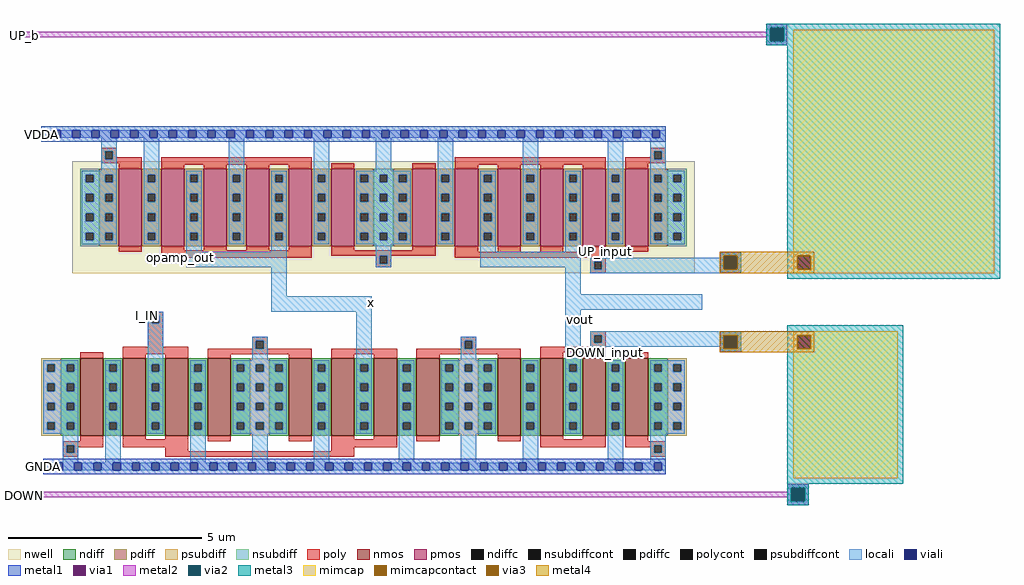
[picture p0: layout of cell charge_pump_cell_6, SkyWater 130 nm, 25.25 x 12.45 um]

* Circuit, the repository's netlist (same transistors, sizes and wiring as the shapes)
* NGSPICE file created from charge_pump_cell_6.ext - technology: sky130A

.subckt charge_pump_cell_6 VDDA GNDA x vout UP_b DOWN I_IN UP_input DOWN_input opamp_out
X0 x I_IN GNDA GNDA sky130_fd_pr__nfet_01v8 ad=0.5 pd=2.5 as=0.5 ps=2.5 w=2 l=0.6
X1 VDDA VDDA VDDA VDDA sky130_fd_pr__pfet_01v8 ad=1 pd=5 as=10 ps=50 w=2 l=0.6
X2 GNDA GNDA GNDA GNDA sky130_fd_pr__nfet_01v8 ad=0.5 pd=2.5 as=12 ps=60 w=2 l=0.6
X3 GNDA I_IN x GNDA sky130_fd_pr__nfet_01v8 ad=0.5 pd=2.5 as=0.5 ps=2.5 w=2 l=0.6
X4 UP_input li_22050_5610# sky130_fd_pr__cap_mim_m3_1 l=6.3 w=5.2
X5 GNDA GNDA GNDA GNDA sky130_fd_pr__nfet_01v8 ad=0.5 pd=2.5 as=0 ps=0 w=2 l=0.6
X6 GNDA GNDA GNDA GNDA sky130_fd_pr__nfet_01v8 ad=1 pd=5 as=0 ps=0 w=2 l=0.6
X7 VDDA VDDA VDDA VDDA sky130_fd_pr__pfet_01v8 ad=0.5 pd=2.5 as=0 ps=0 w=2 l=0.6
X8 vout DOWN_input GNDA GNDA sky130_fd_pr__nfet_01v8 ad=0.5 pd=2.5 as=0.5 ps=2.5 w=2 l=0.6
X9 GNDA DOWN_input vout GNDA sky130_fd_pr__nfet_01v8 ad=0.5 pd=2.5 as=0.5 ps=2.5 w=2 l=0.6
X10 GNDA GNDA GNDA GNDA sky130_fd_pr__nfet_01v8 ad=1 pd=5 as=0 ps=0 w=2 l=0.6
X11 x opamp_out VDDA VDDA sky130_fd_pr__pfet_01v8 ad=0.5 pd=2.5 as=0.5 ps=2.5 w=2 l=0.6
X12 GNDA I_IN I_IN GNDA sky130_fd_pr__nfet_01v8 ad=0.5 pd=2.5 as=0.5 ps=2.5 w=2 l=0.6
X13 VDDA VDDA VDDA VDDA sky130_fd_pr__pfet_01v8 ad=0.5 pd=2.5 as=0 ps=0 w=2 l=0.6
X14 VDDA VDDA VDDA VDDA sky130_fd_pr__pfet_01v8 ad=1 pd=5 as=0 ps=0 w=2 l=0.6
X15 VDDA opamp_out x VDDA sky130_fd_pr__pfet_01v8 ad=0.5 pd=2.5 as=0.5 ps=2.5 w=2 l=0.6
X16 I_IN I_IN GNDA GNDA sky130_fd_pr__nfet_01v8 ad=0.5 pd=2.5 as=0.5 ps=2.5 w=2 l=0.6
X17 vout UP_input VDDA VDDA sky130_fd_pr__pfet_01v8 ad=0.5 pd=2.5 as=0.5 ps=2.5 w=2 l=0.6
X18 VDDA UP_input vout VDDA sky130_fd_pr__pfet_01v8 ad=0.5 pd=2.5 as=0.5 ps=2.5 w=2 l=0.6
X19 x opamp_out VDDA VDDA sky130_fd_pr__pfet_01v8 ad=0.5 pd=2.5 as=0.5 ps=2.5 w=2 l=0.6
X20 GNDA GNDA GNDA GNDA sky130_fd_pr__nfet_01v8 ad=1 pd=5 as=0 ps=0 w=2 l=0.6
X21 VDDA opamp_out x VDDA sky130_fd_pr__pfet_01v8 ad=0.5 pd=2.5 as=0.5 ps=2.5 w=2 l=0.6
X22 VDDA UP_input vout VDDA sky130_fd_pr__pfet_01v8 ad=0.5 pd=2.5 as=0.5 ps=2.5 w=2 l=0.6
X23 DOWN_input li_22160_3230# sky130_fd_pr__cap_mim_m3_1 l=3.8 w=2.7
X24 GNDA GNDA GNDA GNDA sky130_fd_pr__nfet_01v8 ad=0.5 pd=2.5 as=0 ps=0 w=2 l=0.6
X25 vout UP_input VDDA VDDA sky130_fd_pr__pfet_01v8 ad=0.5 pd=2.5 as=0.5 ps=2.5 w=2 l=0.6
.ends

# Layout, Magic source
magic
tech sky130A
<< nwell >>
rect 9230 2215 10840 2505
<< nmos >>
rect 9250 1795 9310 1995
rect 9360 1795 9420 1995
rect 9470 1795 9530 1995
rect 9580 1795 9640 1995
rect 9790 1795 9850 1995
rect 9900 1795 9960 1995
rect 10010 1795 10070 1995
rect 10120 1795 10180 1995
rect 10330 1795 10390 1995
rect 10440 1795 10500 1995
rect 10550 1795 10610 1995
rect 10660 1795 10720 1995
<< pmos >>
rect 9350 2285 9410 2485
rect 9460 2285 9520 2485
rect 9570 2285 9630 2485
rect 9680 2285 9740 2485
rect 9790 2285 9850 2485
rect 9900 2285 9960 2485
rect 10110 2285 10170 2485
rect 10220 2285 10280 2485
rect 10330 2285 10390 2485
rect 10440 2285 10500 2485
rect 10550 2285 10610 2485
rect 10660 2285 10720 2485
<< ndiff >>
rect 9200 1980 9250 1995
rect 9200 1960 9215 1980
rect 9235 1960 9250 1980
rect 9200 1930 9250 1960
rect 9200 1910 9215 1930
rect 9235 1910 9250 1930
rect 9200 1880 9250 1910
rect 9200 1860 9215 1880
rect 9235 1860 9250 1880
rect 9200 1830 9250 1860
rect 9200 1810 9215 1830
rect 9235 1810 9250 1830
rect 9200 1795 9250 1810
rect 9310 1980 9360 1995
rect 9310 1960 9325 1980
rect 9345 1960 9360 1980
rect 9310 1930 9360 1960
rect 9310 1910 9325 1930
rect 9345 1910 9360 1930
rect 9310 1880 9360 1910
rect 9310 1860 9325 1880
rect 9345 1860 9360 1880
rect 9310 1830 9360 1860
rect 9310 1810 9325 1830
rect 9345 1810 9360 1830
rect 9310 1795 9360 1810
rect 9420 1980 9470 1995
rect 9420 1960 9435 1980
rect 9455 1960 9470 1980
rect 9420 1930 9470 1960
rect 9420 1910 9435 1930
rect 9455 1910 9470 1930
rect 9420 1880 9470 1910
rect 9420 1860 9435 1880
rect 9455 1860 9470 1880
rect 9420 1830 9470 1860
rect 9420 1810 9435 1830
rect 9455 1810 9470 1830
rect 9420 1795 9470 1810
rect 9530 1980 9580 1995
rect 9530 1960 9545 1980
rect 9565 1960 9580 1980
rect 9530 1930 9580 1960
rect 9530 1910 9545 1930
rect 9565 1910 9580 1930
rect 9530 1880 9580 1910
rect 9530 1860 9545 1880
rect 9565 1860 9580 1880
rect 9530 1830 9580 1860
rect 9530 1810 9545 1830
rect 9565 1810 9580 1830
rect 9530 1795 9580 1810
rect 9640 1980 9690 1995
rect 9740 1980 9790 1995
rect 9640 1960 9655 1980
rect 9675 1960 9690 1980
rect 9740 1960 9755 1980
rect 9775 1960 9790 1980
rect 9640 1930 9690 1960
rect 9740 1930 9790 1960
rect 9640 1910 9655 1930
rect 9675 1910 9690 1930
rect 9740 1910 9755 1930
rect 9775 1910 9790 1930
rect 9640 1880 9690 1910
rect 9740 1880 9790 1910
rect 9640 1860 9655 1880
rect 9675 1860 9690 1880
rect 9740 1860 9755 1880
rect 9775 1860 9790 1880
rect 9640 1830 9690 1860
rect 9740 1830 9790 1860
rect 9640 1810 9655 1830
rect 9675 1810 9690 1830
rect 9740 1810 9755 1830
rect 9775 1810 9790 1830
rect 9640 1795 9690 1810
rect 9740 1795 9790 1810
rect 9850 1980 9900 1995
rect 9850 1960 9865 1980
rect 9885 1960 9900 1980
rect 9850 1930 9900 1960
rect 9850 1910 9865 1930
rect 9885 1910 9900 1930
rect 9850 1880 9900 1910
rect 9850 1860 9865 1880
rect 9885 1860 9900 1880
rect 9850 1830 9900 1860
rect 9850 1810 9865 1830
rect 9885 1810 9900 1830
rect 9850 1795 9900 1810
rect 9960 1980 10010 1995
rect 9960 1960 9975 1980
rect 9995 1960 10010 1980
rect 9960 1930 10010 1960
rect 9960 1910 9975 1930
rect 9995 1910 10010 1930
rect 9960 1880 10010 1910
rect 9960 1860 9975 1880
rect 9995 1860 10010 1880
rect 9960 1830 10010 1860
rect 9960 1810 9975 1830
rect 9995 1810 10010 1830
rect 9960 1795 10010 1810
rect 10070 1980 10120 1995
rect 10070 1960 10085 1980
rect 10105 1960 10120 1980
rect 10070 1930 10120 1960
rect 10070 1910 10085 1930
rect 10105 1910 10120 1930
rect 10070 1880 10120 1910
rect 10070 1860 10085 1880
rect 10105 1860 10120 1880
rect 10070 1830 10120 1860
rect 10070 1810 10085 1830
rect 10105 1810 10120 1830
rect 10070 1795 10120 1810
rect 10180 1980 10230 1995
rect 10280 1980 10330 1995
rect 10180 1960 10195 1980
rect 10215 1960 10230 1980
rect 10280 1960 10295 1980
rect 10315 1960 10330 1980
rect 10180 1930 10230 1960
rect 10280 1930 10330 1960
rect 10180 1910 10195 1930
rect 10215 1910 10230 1930
rect 10280 1910 10295 1930
rect 10315 1910 10330 1930
rect 10180 1880 10230 1910
rect 10280 1880 10330 1910
rect 10180 1860 10195 1880
rect 10215 1860 10230 1880
rect 10280 1860 10295 1880
rect 10315 1860 10330 1880
rect 10180 1830 10230 1860
rect 10280 1830 10330 1860
rect 10180 1810 10195 1830
rect 10215 1810 10230 1830
rect 10280 1810 10295 1830
rect 10315 1810 10330 1830
rect 10180 1795 10230 1810
rect 10280 1795 10330 1810
rect 10390 1980 10440 1995
rect 10390 1960 10405 1980
rect 10425 1960 10440 1980
rect 10390 1930 10440 1960
rect 10390 1910 10405 1930
rect 10425 1910 10440 1930
rect 10390 1880 10440 1910
rect 10390 1860 10405 1880
rect 10425 1860 10440 1880
rect 10390 1830 10440 1860
rect 10390 1810 10405 1830
rect 10425 1810 10440 1830
rect 10390 1795 10440 1810
rect 10500 1980 10550 1995
rect 10500 1960 10515 1980
rect 10535 1960 10550 1980
rect 10500 1930 10550 1960
rect 10500 1910 10515 1930
rect 10535 1910 10550 1930
rect 10500 1880 10550 1910
rect 10500 1860 10515 1880
rect 10535 1860 10550 1880
rect 10500 1830 10550 1860
rect 10500 1810 10515 1830
rect 10535 1810 10550 1830
rect 10500 1795 10550 1810
rect 10610 1980 10660 1995
rect 10610 1960 10625 1980
rect 10645 1960 10660 1980
rect 10610 1930 10660 1960
rect 10610 1910 10625 1930
rect 10645 1910 10660 1930
rect 10610 1880 10660 1910
rect 10610 1860 10625 1880
rect 10645 1860 10660 1880
rect 10610 1830 10660 1860
rect 10610 1810 10625 1830
rect 10645 1810 10660 1830
rect 10610 1795 10660 1810
rect 10720 1980 10770 1995
rect 10720 1960 10735 1980
rect 10755 1960 10770 1980
rect 10720 1930 10770 1960
rect 10720 1910 10735 1930
rect 10755 1910 10770 1930
rect 10720 1880 10770 1910
rect 10720 1860 10735 1880
rect 10755 1860 10770 1880
rect 10720 1830 10770 1860
rect 10720 1810 10735 1830
rect 10755 1810 10770 1830
rect 10720 1795 10770 1810
<< pdiff >>
rect 9300 2470 9350 2485
rect 9300 2450 9315 2470
rect 9335 2450 9350 2470
rect 9300 2420 9350 2450
rect 9300 2400 9315 2420
rect 9335 2400 9350 2420
rect 9300 2370 9350 2400
rect 9300 2350 9315 2370
rect 9335 2350 9350 2370
rect 9300 2320 9350 2350
rect 9300 2300 9315 2320
rect 9335 2300 9350 2320
rect 9300 2285 9350 2300
rect 9410 2470 9460 2485
rect 9410 2450 9425 2470
rect 9445 2450 9460 2470
rect 9410 2420 9460 2450
rect 9410 2400 9425 2420
rect 9445 2400 9460 2420
rect 9410 2370 9460 2400
rect 9410 2350 9425 2370
rect 9445 2350 9460 2370
rect 9410 2320 9460 2350
rect 9410 2300 9425 2320
rect 9445 2300 9460 2320
rect 9410 2285 9460 2300
rect 9520 2470 9570 2485
rect 9520 2450 9535 2470
rect 9555 2450 9570 2470
rect 9520 2420 9570 2450
rect 9520 2400 9535 2420
rect 9555 2400 9570 2420
rect 9520 2370 9570 2400
rect 9520 2350 9535 2370
rect 9555 2350 9570 2370
rect 9520 2320 9570 2350
rect 9520 2300 9535 2320
rect 9555 2300 9570 2320
rect 9520 2285 9570 2300
rect 9630 2470 9680 2485
rect 9630 2450 9645 2470
rect 9665 2450 9680 2470
rect 9630 2420 9680 2450
rect 9630 2400 9645 2420
rect 9665 2400 9680 2420
rect 9630 2370 9680 2400
rect 9630 2350 9645 2370
rect 9665 2350 9680 2370
rect 9630 2320 9680 2350
rect 9630 2300 9645 2320
rect 9665 2300 9680 2320
rect 9630 2285 9680 2300
rect 9740 2470 9790 2485
rect 9740 2450 9755 2470
rect 9775 2450 9790 2470
rect 9740 2420 9790 2450
rect 9740 2400 9755 2420
rect 9775 2400 9790 2420
rect 9740 2370 9790 2400
rect 9740 2350 9755 2370
rect 9775 2350 9790 2370
rect 9740 2320 9790 2350
rect 9740 2300 9755 2320
rect 9775 2300 9790 2320
rect 9740 2285 9790 2300
rect 9850 2470 9900 2485
rect 9850 2450 9865 2470
rect 9885 2450 9900 2470
rect 9850 2420 9900 2450
rect 9850 2400 9865 2420
rect 9885 2400 9900 2420
rect 9850 2370 9900 2400
rect 9850 2350 9865 2370
rect 9885 2350 9900 2370
rect 9850 2320 9900 2350
rect 9850 2300 9865 2320
rect 9885 2300 9900 2320
rect 9850 2285 9900 2300
rect 9960 2470 10010 2485
rect 10060 2470 10110 2485
rect 9960 2450 9975 2470
rect 9995 2450 10010 2470
rect 10060 2450 10075 2470
rect 10095 2450 10110 2470
rect 9960 2420 10010 2450
rect 10060 2420 10110 2450
rect 9960 2400 9975 2420
rect 9995 2400 10010 2420
rect 10060 2400 10075 2420
rect 10095 2400 10110 2420
rect 9960 2370 10010 2400
rect 10060 2370 10110 2400
rect 9960 2350 9975 2370
rect 9995 2350 10010 2370
rect 10060 2350 10075 2370
rect 10095 2350 10110 2370
rect 9960 2320 10010 2350
rect 10060 2320 10110 2350
rect 9960 2300 9975 2320
rect 9995 2300 10010 2320
rect 10060 2300 10075 2320
rect 10095 2300 10110 2320
rect 9960 2285 10010 2300
rect 10060 2285 10110 2300
rect 10170 2470 10220 2485
rect 10170 2450 10185 2470
rect 10205 2450 10220 2470
rect 10170 2420 10220 2450
rect 10170 2400 10185 2420
rect 10205 2400 10220 2420
rect 10170 2370 10220 2400
rect 10170 2350 10185 2370
rect 10205 2350 10220 2370
rect 10170 2320 10220 2350
rect 10170 2300 10185 2320
rect 10205 2300 10220 2320
rect 10170 2285 10220 2300
rect 10280 2470 10330 2485
rect 10280 2450 10295 2470
rect 10315 2450 10330 2470
rect 10280 2420 10330 2450
rect 10280 2400 10295 2420
rect 10315 2400 10330 2420
rect 10280 2370 10330 2400
rect 10280 2350 10295 2370
rect 10315 2350 10330 2370
rect 10280 2320 10330 2350
rect 10280 2300 10295 2320
rect 10315 2300 10330 2320
rect 10280 2285 10330 2300
rect 10390 2470 10440 2485
rect 10390 2450 10405 2470
rect 10425 2450 10440 2470
rect 10390 2420 10440 2450
rect 10390 2400 10405 2420
rect 10425 2400 10440 2420
rect 10390 2370 10440 2400
rect 10390 2350 10405 2370
rect 10425 2350 10440 2370
rect 10390 2320 10440 2350
rect 10390 2300 10405 2320
rect 10425 2300 10440 2320
rect 10390 2285 10440 2300
rect 10500 2470 10550 2485
rect 10500 2450 10515 2470
rect 10535 2450 10550 2470
rect 10500 2420 10550 2450
rect 10500 2400 10515 2420
rect 10535 2400 10550 2420
rect 10500 2370 10550 2400
rect 10500 2350 10515 2370
rect 10535 2350 10550 2370
rect 10500 2320 10550 2350
rect 10500 2300 10515 2320
rect 10535 2300 10550 2320
rect 10500 2285 10550 2300
rect 10610 2470 10660 2485
rect 10610 2450 10625 2470
rect 10645 2450 10660 2470
rect 10610 2420 10660 2450
rect 10610 2400 10625 2420
rect 10645 2400 10660 2420
rect 10610 2370 10660 2400
rect 10610 2350 10625 2370
rect 10645 2350 10660 2370
rect 10610 2320 10660 2350
rect 10610 2300 10625 2320
rect 10645 2300 10660 2320
rect 10610 2285 10660 2300
rect 10720 2470 10770 2485
rect 10720 2450 10735 2470
rect 10755 2450 10770 2470
rect 10720 2420 10770 2450
rect 10720 2400 10735 2420
rect 10755 2400 10770 2420
rect 10720 2370 10770 2400
rect 10720 2350 10735 2370
rect 10755 2350 10770 2370
rect 10720 2320 10770 2350
rect 10720 2300 10735 2320
rect 10755 2300 10770 2320
rect 10720 2285 10770 2300
<< ndiffc >>
rect 9215 1960 9235 1980
rect 9215 1910 9235 1930
rect 9215 1860 9235 1880
rect 9215 1810 9235 1830
rect 9325 1960 9345 1980
rect 9325 1910 9345 1930
rect 9325 1860 9345 1880
rect 9325 1810 9345 1830
rect 9435 1960 9455 1980
rect 9435 1910 9455 1930
rect 9435 1860 9455 1880
rect 9435 1810 9455 1830
rect 9545 1960 9565 1980
rect 9545 1910 9565 1930
rect 9545 1860 9565 1880
rect 9545 1810 9565 1830
rect 9655 1960 9675 1980
rect 9755 1960 9775 1980
rect 9655 1910 9675 1930
rect 9755 1910 9775 1930
rect 9655 1860 9675 1880
rect 9755 1860 9775 1880
rect 9655 1810 9675 1830
rect 9755 1810 9775 1830
rect 9865 1960 9885 1980
rect 9865 1910 9885 1930
rect 9865 1860 9885 1880
rect 9865 1810 9885 1830
rect 9975 1960 9995 1980
rect 9975 1910 9995 1930
rect 9975 1860 9995 1880
rect 9975 1810 9995 1830
rect 10085 1960 10105 1980
rect 10085 1910 10105 1930
rect 10085 1860 10105 1880
rect 10085 1810 10105 1830
rect 10195 1960 10215 1980
rect 10295 1960 10315 1980
rect 10195 1910 10215 1930
rect 10295 1910 10315 1930
rect 10195 1860 10215 1880
rect 10295 1860 10315 1880
rect 10195 1810 10215 1830
rect 10295 1810 10315 1830
rect 10405 1960 10425 1980
rect 10405 1910 10425 1930
rect 10405 1860 10425 1880
rect 10405 1810 10425 1830
rect 10515 1960 10535 1980
rect 10515 1910 10535 1930
rect 10515 1860 10535 1880
rect 10515 1810 10535 1830
rect 10625 1960 10645 1980
rect 10625 1910 10645 1930
rect 10625 1860 10645 1880
rect 10625 1810 10645 1830
rect 10735 1960 10755 1980
rect 10735 1910 10755 1930
rect 10735 1860 10755 1880
rect 10735 1810 10755 1830
<< pdiffc >>
rect 9315 2450 9335 2470
rect 9315 2400 9335 2420
rect 9315 2350 9335 2370
rect 9315 2300 9335 2320
rect 9425 2450 9445 2470
rect 9425 2400 9445 2420
rect 9425 2350 9445 2370
rect 9425 2300 9445 2320
rect 9535 2450 9555 2470
rect 9535 2400 9555 2420
rect 9535 2350 9555 2370
rect 9535 2300 9555 2320
rect 9645 2450 9665 2470
rect 9645 2400 9665 2420
rect 9645 2350 9665 2370
rect 9645 2300 9665 2320
rect 9755 2450 9775 2470
rect 9755 2400 9775 2420
rect 9755 2350 9775 2370
rect 9755 2300 9775 2320
rect 9865 2450 9885 2470
rect 9865 2400 9885 2420
rect 9865 2350 9885 2370
rect 9865 2300 9885 2320
rect 9975 2450 9995 2470
rect 10075 2450 10095 2470
rect 9975 2400 9995 2420
rect 10075 2400 10095 2420
rect 9975 2350 9995 2370
rect 10075 2350 10095 2370
rect 9975 2300 9995 2320
rect 10075 2300 10095 2320
rect 10185 2450 10205 2470
rect 10185 2400 10205 2420
rect 10185 2350 10205 2370
rect 10185 2300 10205 2320
rect 10295 2450 10315 2470
rect 10295 2400 10315 2420
rect 10295 2350 10315 2370
rect 10295 2300 10315 2320
rect 10405 2450 10425 2470
rect 10405 2400 10425 2420
rect 10405 2350 10425 2370
rect 10405 2300 10425 2320
rect 10515 2450 10535 2470
rect 10515 2400 10535 2420
rect 10515 2350 10535 2370
rect 10515 2300 10535 2320
rect 10625 2450 10645 2470
rect 10625 2400 10645 2420
rect 10625 2350 10645 2370
rect 10625 2300 10645 2320
rect 10735 2450 10755 2470
rect 10735 2400 10755 2420
rect 10735 2350 10755 2370
rect 10735 2300 10755 2320
<< psubdiff >>
rect 9150 1980 9200 1995
rect 9150 1960 9165 1980
rect 9185 1960 9200 1980
rect 9150 1930 9200 1960
rect 9150 1910 9165 1930
rect 9185 1910 9200 1930
rect 9150 1880 9200 1910
rect 9150 1860 9165 1880
rect 9185 1860 9200 1880
rect 9150 1830 9200 1860
rect 9150 1810 9165 1830
rect 9185 1810 9200 1830
rect 9150 1795 9200 1810
rect 9690 1980 9740 1995
rect 9690 1960 9705 1980
rect 9725 1960 9740 1980
rect 9690 1930 9740 1960
rect 9690 1910 9705 1930
rect 9725 1910 9740 1930
rect 9690 1880 9740 1910
rect 9690 1860 9705 1880
rect 9725 1860 9740 1880
rect 9690 1830 9740 1860
rect 9690 1810 9705 1830
rect 9725 1810 9740 1830
rect 9690 1795 9740 1810
rect 10230 1980 10280 1995
rect 10230 1960 10245 1980
rect 10265 1960 10280 1980
rect 10230 1930 10280 1960
rect 10230 1910 10245 1930
rect 10265 1910 10280 1930
rect 10230 1880 10280 1910
rect 10230 1860 10245 1880
rect 10265 1860 10280 1880
rect 10230 1830 10280 1860
rect 10230 1810 10245 1830
rect 10265 1810 10280 1830
rect 10230 1795 10280 1810
rect 10770 1980 10820 1995
rect 10770 1960 10785 1980
rect 10805 1960 10820 1980
rect 10770 1930 10820 1960
rect 10770 1910 10785 1930
rect 10805 1910 10820 1930
rect 10770 1880 10820 1910
rect 10770 1860 10785 1880
rect 10805 1860 10820 1880
rect 10770 1830 10820 1860
rect 10770 1810 10785 1830
rect 10805 1810 10820 1830
rect 10770 1795 10820 1810
<< nsubdiff >>
rect 9250 2470 9300 2485
rect 9250 2450 9265 2470
rect 9285 2450 9300 2470
rect 9250 2420 9300 2450
rect 9250 2400 9265 2420
rect 9285 2400 9300 2420
rect 9250 2370 9300 2400
rect 9250 2350 9265 2370
rect 9285 2350 9300 2370
rect 9250 2320 9300 2350
rect 9250 2300 9265 2320
rect 9285 2300 9300 2320
rect 9250 2285 9300 2300
rect 10010 2470 10060 2485
rect 10010 2450 10025 2470
rect 10045 2450 10060 2470
rect 10010 2420 10060 2450
rect 10010 2400 10025 2420
rect 10045 2400 10060 2420
rect 10010 2370 10060 2400
rect 10010 2350 10025 2370
rect 10045 2350 10060 2370
rect 10010 2320 10060 2350
rect 10010 2300 10025 2320
rect 10045 2300 10060 2320
rect 10010 2285 10060 2300
rect 10770 2470 10820 2485
rect 10770 2450 10785 2470
rect 10805 2450 10820 2470
rect 10770 2420 10820 2450
rect 10770 2400 10785 2420
rect 10805 2400 10820 2420
rect 10770 2370 10820 2400
rect 10770 2350 10785 2370
rect 10805 2350 10820 2370
rect 10770 2320 10820 2350
rect 10770 2300 10785 2320
rect 10805 2300 10820 2320
rect 10770 2285 10820 2300
<< psubdiffcont >>
rect 9165 1960 9185 1980
rect 9165 1910 9185 1930
rect 9165 1860 9185 1880
rect 9165 1810 9185 1830
rect 9705 1960 9725 1980
rect 9705 1910 9725 1930
rect 9705 1860 9725 1880
rect 9705 1810 9725 1830
rect 10245 1960 10265 1980
rect 10245 1910 10265 1930
rect 10245 1860 10265 1880
rect 10245 1810 10265 1830
rect 10785 1960 10805 1980
rect 10785 1910 10805 1930
rect 10785 1860 10805 1880
rect 10785 1810 10805 1830
<< nsubdiffcont >>
rect 9265 2450 9285 2470
rect 9265 2400 9285 2420
rect 9265 2350 9285 2370
rect 9265 2300 9285 2320
rect 10025 2450 10045 2470
rect 10025 2400 10045 2420
rect 10025 2350 10045 2370
rect 10025 2300 10045 2320
rect 10785 2450 10805 2470
rect 10785 2400 10805 2420
rect 10785 2350 10805 2370
rect 10785 2300 10805 2320
<< poly >>
rect 9305 2530 9345 2540
rect 9305 2510 9315 2530
rect 9335 2515 9345 2530
rect 10725 2530 10765 2540
rect 10725 2515 10735 2530
rect 9335 2510 9410 2515
rect 9305 2500 9410 2510
rect 9350 2485 9410 2500
rect 9460 2495 9850 2515
rect 9460 2485 9520 2495
rect 9570 2485 9630 2495
rect 9680 2485 9740 2495
rect 9790 2485 9850 2495
rect 9900 2485 9960 2500
rect 10110 2485 10170 2500
rect 10220 2495 10610 2515
rect 10220 2485 10280 2495
rect 10330 2485 10390 2495
rect 10440 2485 10500 2495
rect 10550 2485 10610 2495
rect 10660 2510 10735 2515
rect 10755 2510 10765 2530
rect 10660 2500 10765 2510
rect 10660 2485 10720 2500
rect 9350 2270 9410 2285
rect 9460 2275 9520 2285
rect 9570 2275 9630 2285
rect 9680 2275 9740 2285
rect 9790 2275 9850 2285
rect 9460 2255 9850 2275
rect 9900 2275 9960 2285
rect 10110 2275 10170 2285
rect 9900 2260 10170 2275
rect 10220 2270 10280 2285
rect 10330 2270 10390 2285
rect 10440 2270 10500 2285
rect 10550 2270 10610 2285
rect 10660 2270 10720 2285
rect 10015 2240 10025 2260
rect 10045 2240 10055 2260
rect 10220 2255 10610 2270
rect 10015 2230 10055 2240
rect 10570 2245 10610 2255
rect 10570 2225 10580 2245
rect 10600 2225 10610 2245
rect 10570 2215 10610 2225
rect 9425 2105 9465 2115
rect 9425 2085 9435 2105
rect 9455 2085 9465 2105
rect 9425 2025 9465 2085
rect 10570 2055 10610 2065
rect 9695 2040 9735 2050
rect 9250 1995 9310 2010
rect 9360 2005 9530 2025
rect 9695 2020 9705 2040
rect 9725 2020 9735 2040
rect 10235 2040 10275 2050
rect 10235 2020 10245 2040
rect 10265 2020 10275 2040
rect 10570 2035 10580 2055
rect 10600 2035 10610 2055
rect 10570 2025 10610 2035
rect 9360 1995 9420 2005
rect 9470 1995 9530 2005
rect 9580 2005 9850 2020
rect 9580 1995 9640 2005
rect 9790 1995 9850 2005
rect 9900 2005 10070 2020
rect 9900 1995 9960 2005
rect 10010 1995 10070 2005
rect 10120 2005 10390 2020
rect 10120 1995 10180 2005
rect 10330 1995 10390 2005
rect 10440 2010 10610 2025
rect 10440 1995 10500 2010
rect 10550 1995 10610 2010
rect 10660 1995 10720 2010
rect 9250 1780 9310 1795
rect 9205 1770 9310 1780
rect 9205 1750 9215 1770
rect 9235 1765 9310 1770
rect 9360 1785 9420 1795
rect 9470 1785 9530 1795
rect 9360 1765 9530 1785
rect 9580 1780 9640 1795
rect 9790 1780 9850 1795
rect 9900 1785 9960 1795
rect 10010 1785 10070 1795
rect 9235 1750 9245 1765
rect 9205 1740 9245 1750
rect 9470 1755 9530 1765
rect 9900 1765 10070 1785
rect 10120 1780 10180 1795
rect 10330 1780 10390 1795
rect 10440 1785 10500 1795
rect 10550 1785 10610 1795
rect 10440 1765 10610 1785
rect 10660 1780 10720 1795
rect 10660 1770 10765 1780
rect 10660 1765 10735 1770
rect 9900 1755 9960 1765
rect 9470 1740 9960 1755
rect 10725 1750 10735 1765
rect 10755 1750 10765 1770
rect 10725 1740 10765 1750
<< polycont >>
rect 9315 2510 9335 2530
rect 10735 2510 10755 2530
rect 10025 2240 10045 2260
rect 10580 2225 10600 2245
rect 9435 2085 9455 2105
rect 9705 2020 9725 2040
rect 10245 2020 10265 2040
rect 10580 2035 10600 2055
rect 9215 1750 9235 1770
rect 10735 1750 10755 1770
<< locali >>
rect 11025 2850 11080 2860
rect 11025 2815 11035 2850
rect 11070 2815 11080 2850
rect 11025 2805 11080 2815
rect 9150 2565 9180 2585
rect 9200 2565 9230 2585
rect 9250 2565 9280 2585
rect 9300 2565 9330 2585
rect 9350 2565 9380 2585
rect 9400 2565 9430 2585
rect 9450 2565 9480 2585
rect 9500 2565 9530 2585
rect 9550 2565 9580 2585
rect 9600 2565 9630 2585
rect 9650 2565 9680 2585
rect 9700 2565 9730 2585
rect 9750 2565 9780 2585
rect 9800 2565 9830 2585
rect 9850 2565 9880 2585
rect 9900 2565 9930 2585
rect 9950 2565 9980 2585
rect 10000 2565 10030 2585
rect 10050 2565 10080 2585
rect 10100 2565 10130 2585
rect 10150 2565 10180 2585
rect 10200 2565 10230 2585
rect 10250 2565 10280 2585
rect 10300 2565 10330 2585
rect 10350 2565 10380 2585
rect 10400 2565 10430 2585
rect 10450 2565 10480 2585
rect 10500 2565 10530 2585
rect 10550 2565 10580 2585
rect 10600 2565 10630 2585
rect 10650 2565 10680 2585
rect 10700 2565 10730 2585
rect 10750 2565 10765 2585
rect 9305 2530 9345 2565
rect 9305 2510 9315 2530
rect 9335 2510 9345 2530
rect 9305 2480 9345 2510
rect 9255 2470 9345 2480
rect 9255 2450 9265 2470
rect 9285 2450 9315 2470
rect 9335 2450 9345 2470
rect 9255 2420 9345 2450
rect 9255 2400 9265 2420
rect 9285 2400 9315 2420
rect 9335 2400 9345 2420
rect 9255 2370 9345 2400
rect 9255 2350 9265 2370
rect 9285 2350 9315 2370
rect 9335 2350 9345 2370
rect 9255 2320 9345 2350
rect 9255 2300 9265 2320
rect 9285 2300 9315 2320
rect 9335 2300 9345 2320
rect 9255 2290 9345 2300
rect 9415 2470 9455 2565
rect 9415 2450 9425 2470
rect 9445 2450 9455 2470
rect 9415 2420 9455 2450
rect 9415 2400 9425 2420
rect 9445 2400 9455 2420
rect 9415 2370 9455 2400
rect 9415 2350 9425 2370
rect 9445 2350 9455 2370
rect 9415 2320 9455 2350
rect 9415 2300 9425 2320
rect 9445 2300 9455 2320
rect 9415 2290 9455 2300
rect 9525 2470 9565 2480
rect 9525 2450 9535 2470
rect 9555 2450 9565 2470
rect 9525 2420 9565 2450
rect 9525 2400 9535 2420
rect 9555 2400 9565 2420
rect 9525 2370 9565 2400
rect 9525 2350 9535 2370
rect 9555 2350 9565 2370
rect 9525 2320 9565 2350
rect 9525 2300 9535 2320
rect 9555 2300 9565 2320
rect 9525 2270 9565 2300
rect 9635 2470 9675 2565
rect 9635 2450 9645 2470
rect 9665 2450 9675 2470
rect 9635 2420 9675 2450
rect 9635 2400 9645 2420
rect 9665 2400 9675 2420
rect 9635 2370 9675 2400
rect 9635 2350 9645 2370
rect 9665 2350 9675 2370
rect 9635 2320 9675 2350
rect 9635 2300 9645 2320
rect 9665 2300 9675 2320
rect 9635 2290 9675 2300
rect 9745 2470 9785 2480
rect 9745 2450 9755 2470
rect 9775 2450 9785 2470
rect 9745 2420 9785 2450
rect 9745 2400 9755 2420
rect 9775 2400 9785 2420
rect 9745 2370 9785 2400
rect 9745 2350 9755 2370
rect 9775 2350 9785 2370
rect 9745 2320 9785 2350
rect 9745 2300 9755 2320
rect 9775 2300 9785 2320
rect 9745 2270 9785 2300
rect 9855 2470 9895 2565
rect 10015 2480 10055 2565
rect 9855 2450 9865 2470
rect 9885 2450 9895 2470
rect 9855 2420 9895 2450
rect 9855 2400 9865 2420
rect 9885 2400 9895 2420
rect 9855 2370 9895 2400
rect 9855 2350 9865 2370
rect 9885 2350 9895 2370
rect 9855 2320 9895 2350
rect 9855 2300 9865 2320
rect 9885 2300 9895 2320
rect 9855 2290 9895 2300
rect 9965 2470 10105 2480
rect 9965 2450 9975 2470
rect 9995 2450 10025 2470
rect 10045 2450 10075 2470
rect 10095 2450 10105 2470
rect 9965 2420 10105 2450
rect 9965 2400 9975 2420
rect 9995 2400 10025 2420
rect 10045 2400 10075 2420
rect 10095 2400 10105 2420
rect 9965 2370 10105 2400
rect 9965 2350 9975 2370
rect 9995 2350 10025 2370
rect 10045 2350 10075 2370
rect 10095 2350 10105 2370
rect 9965 2320 10105 2350
rect 9965 2300 9975 2320
rect 9995 2300 10025 2320
rect 10045 2300 10075 2320
rect 10095 2300 10105 2320
rect 9965 2290 10105 2300
rect 10175 2470 10215 2565
rect 10175 2450 10185 2470
rect 10205 2450 10215 2470
rect 10175 2420 10215 2450
rect 10175 2400 10185 2420
rect 10205 2400 10215 2420
rect 10175 2370 10215 2400
rect 10175 2350 10185 2370
rect 10205 2350 10215 2370
rect 10175 2320 10215 2350
rect 10175 2300 10185 2320
rect 10205 2300 10215 2320
rect 10175 2290 10215 2300
rect 10285 2470 10325 2480
rect 10285 2450 10295 2470
rect 10315 2450 10325 2470
rect 10285 2420 10325 2450
rect 10285 2400 10295 2420
rect 10315 2400 10325 2420
rect 10285 2370 10325 2400
rect 10285 2350 10295 2370
rect 10315 2350 10325 2370
rect 10285 2320 10325 2350
rect 10285 2300 10295 2320
rect 10315 2300 10325 2320
rect 9525 2230 9785 2270
rect 10015 2260 10055 2290
rect 10015 2240 10025 2260
rect 10045 2240 10055 2260
rect 10015 2230 10055 2240
rect 10285 2270 10325 2300
rect 10395 2470 10435 2565
rect 10395 2450 10405 2470
rect 10425 2450 10435 2470
rect 10395 2420 10435 2450
rect 10395 2400 10405 2420
rect 10425 2400 10435 2420
rect 10395 2370 10435 2400
rect 10395 2350 10405 2370
rect 10425 2350 10435 2370
rect 10395 2320 10435 2350
rect 10395 2300 10405 2320
rect 10425 2300 10435 2320
rect 10395 2290 10435 2300
rect 10505 2470 10545 2480
rect 10505 2450 10515 2470
rect 10535 2450 10545 2470
rect 10505 2420 10545 2450
rect 10505 2400 10515 2420
rect 10535 2400 10545 2420
rect 10505 2370 10545 2400
rect 10505 2350 10515 2370
rect 10535 2350 10545 2370
rect 10505 2320 10545 2350
rect 10505 2300 10515 2320
rect 10535 2300 10545 2320
rect 10505 2270 10545 2300
rect 10615 2470 10655 2565
rect 10615 2450 10625 2470
rect 10645 2450 10655 2470
rect 10615 2420 10655 2450
rect 10615 2400 10625 2420
rect 10645 2400 10655 2420
rect 10615 2370 10655 2400
rect 10615 2350 10625 2370
rect 10645 2350 10655 2370
rect 10615 2320 10655 2350
rect 10615 2300 10625 2320
rect 10645 2300 10655 2320
rect 10615 2290 10655 2300
rect 10725 2530 10765 2565
rect 10725 2510 10735 2530
rect 10755 2510 10765 2530
rect 10725 2480 10765 2510
rect 10725 2470 10815 2480
rect 10725 2450 10735 2470
rect 10755 2450 10785 2470
rect 10805 2450 10815 2470
rect 10725 2420 10815 2450
rect 10725 2400 10735 2420
rect 10755 2400 10785 2420
rect 10805 2400 10815 2420
rect 10725 2370 10815 2400
rect 10725 2350 10735 2370
rect 10755 2350 10785 2370
rect 10805 2350 10815 2370
rect 10725 2320 10815 2350
rect 10725 2300 10735 2320
rect 10755 2300 10785 2320
rect 10805 2300 10815 2320
rect 10725 2290 10815 2300
rect 10285 2230 10545 2270
rect 10905 2260 10960 2270
rect 10905 2255 10915 2260
rect 9745 2155 9785 2230
rect 10505 2160 10545 2230
rect 10570 2245 10915 2255
rect 10570 2225 10580 2245
rect 10600 2225 10915 2245
rect 10950 2225 10960 2260
rect 10570 2215 10960 2225
rect 9745 2115 10005 2155
rect 9425 2105 9465 2115
rect 9425 2085 9435 2105
rect 9455 2085 9465 2105
rect 9155 1980 9245 1990
rect 9155 1960 9165 1980
rect 9185 1960 9215 1980
rect 9235 1960 9245 1980
rect 9155 1930 9245 1960
rect 9155 1910 9165 1930
rect 9185 1910 9215 1930
rect 9235 1910 9245 1930
rect 9155 1880 9245 1910
rect 9155 1860 9165 1880
rect 9185 1860 9215 1880
rect 9235 1860 9245 1880
rect 9155 1830 9245 1860
rect 9155 1810 9165 1830
rect 9185 1810 9215 1830
rect 9235 1810 9245 1830
rect 9155 1800 9245 1810
rect 9205 1770 9245 1800
rect 9205 1750 9215 1770
rect 9235 1750 9245 1770
rect 9205 1725 9245 1750
rect 9315 1980 9355 1990
rect 9315 1960 9325 1980
rect 9345 1960 9355 1980
rect 9315 1930 9355 1960
rect 9315 1910 9325 1930
rect 9345 1910 9355 1930
rect 9315 1880 9355 1910
rect 9315 1860 9325 1880
rect 9345 1860 9355 1880
rect 9315 1830 9355 1860
rect 9315 1810 9325 1830
rect 9345 1810 9355 1830
rect 9315 1725 9355 1810
rect 9425 1980 9465 2085
rect 9695 2040 9735 2050
rect 9695 2020 9705 2040
rect 9725 2020 9735 2040
rect 9695 1990 9735 2020
rect 9425 1960 9435 1980
rect 9455 1960 9465 1980
rect 9425 1930 9465 1960
rect 9425 1910 9435 1930
rect 9455 1910 9465 1930
rect 9425 1880 9465 1910
rect 9425 1860 9435 1880
rect 9455 1860 9465 1880
rect 9425 1830 9465 1860
rect 9425 1810 9435 1830
rect 9455 1810 9465 1830
rect 9425 1800 9465 1810
rect 9535 1980 9575 1990
rect 9535 1960 9545 1980
rect 9565 1960 9575 1980
rect 9535 1930 9575 1960
rect 9535 1910 9545 1930
rect 9565 1910 9575 1930
rect 9535 1880 9575 1910
rect 9535 1860 9545 1880
rect 9565 1860 9575 1880
rect 9535 1830 9575 1860
rect 9535 1810 9545 1830
rect 9565 1810 9575 1830
rect 9535 1725 9575 1810
rect 9645 1980 9785 1990
rect 9645 1960 9655 1980
rect 9675 1960 9705 1980
rect 9725 1960 9755 1980
rect 9775 1960 9785 1980
rect 9645 1930 9785 1960
rect 9645 1910 9655 1930
rect 9675 1910 9705 1930
rect 9725 1910 9755 1930
rect 9775 1910 9785 1930
rect 9645 1880 9785 1910
rect 9645 1860 9655 1880
rect 9675 1860 9705 1880
rect 9725 1860 9755 1880
rect 9775 1860 9785 1880
rect 9645 1830 9785 1860
rect 9645 1810 9655 1830
rect 9675 1810 9705 1830
rect 9725 1810 9755 1830
rect 9775 1810 9785 1830
rect 9645 1800 9785 1810
rect 9855 1980 9895 1990
rect 9855 1960 9865 1980
rect 9885 1960 9895 1980
rect 9855 1930 9895 1960
rect 9855 1910 9865 1930
rect 9885 1910 9895 1930
rect 9855 1880 9895 1910
rect 9855 1860 9865 1880
rect 9885 1860 9895 1880
rect 9855 1830 9895 1860
rect 9855 1810 9865 1830
rect 9885 1810 9895 1830
rect 9695 1725 9735 1800
rect 9855 1725 9895 1810
rect 9965 1980 10005 2115
rect 10505 2120 10860 2160
rect 10235 2040 10275 2050
rect 10235 2020 10245 2040
rect 10265 2020 10275 2040
rect 10235 1990 10275 2020
rect 9965 1960 9975 1980
rect 9995 1960 10005 1980
rect 9965 1930 10005 1960
rect 9965 1910 9975 1930
rect 9995 1910 10005 1930
rect 9965 1880 10005 1910
rect 9965 1860 9975 1880
rect 9995 1860 10005 1880
rect 9965 1830 10005 1860
rect 9965 1810 9975 1830
rect 9995 1810 10005 1830
rect 9965 1800 10005 1810
rect 10075 1980 10115 1990
rect 10075 1960 10085 1980
rect 10105 1960 10115 1980
rect 10075 1930 10115 1960
rect 10075 1910 10085 1930
rect 10105 1910 10115 1930
rect 10075 1880 10115 1910
rect 10075 1860 10085 1880
rect 10105 1860 10115 1880
rect 10075 1830 10115 1860
rect 10075 1810 10085 1830
rect 10105 1810 10115 1830
rect 10075 1725 10115 1810
rect 10185 1980 10325 1990
rect 10185 1960 10195 1980
rect 10215 1960 10245 1980
rect 10265 1960 10295 1980
rect 10315 1960 10325 1980
rect 10185 1930 10325 1960
rect 10185 1910 10195 1930
rect 10215 1910 10245 1930
rect 10265 1910 10295 1930
rect 10315 1910 10325 1930
rect 10185 1880 10325 1910
rect 10185 1860 10195 1880
rect 10215 1860 10245 1880
rect 10265 1860 10295 1880
rect 10315 1860 10325 1880
rect 10185 1830 10325 1860
rect 10185 1810 10195 1830
rect 10215 1810 10245 1830
rect 10265 1810 10295 1830
rect 10315 1810 10325 1830
rect 10185 1800 10325 1810
rect 10395 1980 10435 1990
rect 10395 1960 10405 1980
rect 10425 1960 10435 1980
rect 10395 1930 10435 1960
rect 10395 1910 10405 1930
rect 10425 1910 10435 1930
rect 10395 1880 10435 1910
rect 10395 1860 10405 1880
rect 10425 1860 10435 1880
rect 10395 1830 10435 1860
rect 10395 1810 10405 1830
rect 10425 1810 10435 1830
rect 10235 1725 10275 1800
rect 10395 1725 10435 1810
rect 10505 1980 10545 2120
rect 10570 2055 10960 2065
rect 10570 2035 10580 2055
rect 10600 2035 10915 2055
rect 10570 2025 10915 2035
rect 10905 2020 10915 2025
rect 10950 2020 10960 2055
rect 10905 2010 10960 2020
rect 10505 1960 10515 1980
rect 10535 1960 10545 1980
rect 10505 1930 10545 1960
rect 10505 1910 10515 1930
rect 10535 1910 10545 1930
rect 10505 1880 10545 1910
rect 10505 1860 10515 1880
rect 10535 1860 10545 1880
rect 10505 1830 10545 1860
rect 10505 1810 10515 1830
rect 10535 1810 10545 1830
rect 10505 1800 10545 1810
rect 10615 1980 10655 1990
rect 10615 1960 10625 1980
rect 10645 1960 10655 1980
rect 10615 1930 10655 1960
rect 10615 1910 10625 1930
rect 10645 1910 10655 1930
rect 10615 1880 10655 1910
rect 10615 1860 10625 1880
rect 10645 1860 10655 1880
rect 10615 1830 10655 1860
rect 10615 1810 10625 1830
rect 10645 1810 10655 1830
rect 10615 1725 10655 1810
rect 10725 1980 10815 1990
rect 10725 1960 10735 1980
rect 10755 1960 10785 1980
rect 10805 1960 10815 1980
rect 10725 1930 10815 1960
rect 10725 1910 10735 1930
rect 10755 1910 10785 1930
rect 10805 1910 10815 1930
rect 10725 1880 10815 1910
rect 10725 1860 10735 1880
rect 10755 1860 10785 1880
rect 10805 1860 10815 1880
rect 10725 1830 10815 1860
rect 10725 1810 10735 1830
rect 10755 1810 10785 1830
rect 10805 1810 10815 1830
rect 10725 1800 10815 1810
rect 10725 1770 10765 1800
rect 10725 1750 10735 1770
rect 10755 1750 10765 1770
rect 10725 1725 10765 1750
rect 9155 1705 9185 1725
rect 9205 1705 9235 1725
rect 9255 1705 9285 1725
rect 9305 1705 9335 1725
rect 9355 1705 9385 1725
rect 9405 1705 9435 1725
rect 9455 1705 9485 1725
rect 9505 1705 9535 1725
rect 9555 1705 9585 1725
rect 9605 1705 9635 1725
rect 9655 1705 9685 1725
rect 9705 1705 9735 1725
rect 9755 1705 9785 1725
rect 9805 1705 9835 1725
rect 9855 1705 9885 1725
rect 9905 1705 9935 1725
rect 9955 1705 9985 1725
rect 10005 1705 10035 1725
rect 10055 1705 10085 1725
rect 10105 1705 10135 1725
rect 10155 1705 10185 1725
rect 10205 1705 10235 1725
rect 10255 1705 10285 1725
rect 10305 1705 10335 1725
rect 10355 1705 10385 1725
rect 10405 1705 10435 1725
rect 10455 1705 10485 1725
rect 10505 1705 10535 1725
rect 10555 1705 10585 1725
rect 10605 1705 10635 1725
rect 10655 1705 10685 1725
rect 10705 1705 10735 1725
rect 10755 1705 10765 1725
rect 11080 1660 11135 1670
rect 11080 1625 11090 1660
rect 11125 1625 11135 1660
rect 11080 1615 11135 1625
<< viali >>
rect 11035 2815 11070 2850
rect 9180 2565 9200 2585
rect 9230 2565 9250 2585
rect 9280 2565 9300 2585
rect 9330 2565 9350 2585
rect 9380 2565 9400 2585
rect 9430 2565 9450 2585
rect 9480 2565 9500 2585
rect 9530 2565 9550 2585
rect 9580 2565 9600 2585
rect 9630 2565 9650 2585
rect 9680 2565 9700 2585
rect 9730 2565 9750 2585
rect 9780 2565 9800 2585
rect 9830 2565 9850 2585
rect 9880 2565 9900 2585
rect 9930 2565 9950 2585
rect 9980 2565 10000 2585
rect 10030 2565 10050 2585
rect 10080 2565 10100 2585
rect 10130 2565 10150 2585
rect 10180 2565 10200 2585
rect 10230 2565 10250 2585
rect 10280 2565 10300 2585
rect 10330 2565 10350 2585
rect 10380 2565 10400 2585
rect 10430 2565 10450 2585
rect 10480 2565 10500 2585
rect 10530 2565 10550 2585
rect 10580 2565 10600 2585
rect 10630 2565 10650 2585
rect 10680 2565 10700 2585
rect 10730 2565 10750 2585
rect 10915 2225 10950 2260
rect 10915 2020 10950 2055
rect 9185 1705 9205 1725
rect 9235 1705 9255 1725
rect 9285 1705 9305 1725
rect 9335 1705 9355 1725
rect 9385 1705 9405 1725
rect 9435 1705 9455 1725
rect 9485 1705 9505 1725
rect 9535 1705 9555 1725
rect 9585 1705 9605 1725
rect 9635 1705 9655 1725
rect 9685 1705 9705 1725
rect 9735 1705 9755 1725
rect 9785 1705 9805 1725
rect 9835 1705 9855 1725
rect 9885 1705 9905 1725
rect 9935 1705 9955 1725
rect 9985 1705 10005 1725
rect 10035 1705 10055 1725
rect 10085 1705 10105 1725
rect 10135 1705 10155 1725
rect 10185 1705 10205 1725
rect 10235 1705 10255 1725
rect 10285 1705 10305 1725
rect 10335 1705 10355 1725
rect 10385 1705 10405 1725
rect 10435 1705 10455 1725
rect 10485 1705 10505 1725
rect 10535 1705 10555 1725
rect 10585 1705 10605 1725
rect 10635 1705 10655 1725
rect 10685 1705 10705 1725
rect 10735 1705 10755 1725
rect 11090 1625 11125 1660
<< metal1 >>
rect 11025 2850 11080 2860
rect 11025 2815 11035 2850
rect 11070 2815 11080 2850
rect 11025 2805 11080 2815
rect 9150 2585 10765 2595
rect 9150 2565 9180 2585
rect 9200 2565 9230 2585
rect 9250 2565 9280 2585
rect 9300 2565 9330 2585
rect 9350 2565 9380 2585
rect 9400 2565 9430 2585
rect 9450 2565 9480 2585
rect 9500 2565 9530 2585
rect 9550 2565 9580 2585
rect 9600 2565 9630 2585
rect 9650 2565 9680 2585
rect 9700 2565 9730 2585
rect 9750 2565 9780 2585
rect 9800 2565 9830 2585
rect 9850 2565 9880 2585
rect 9900 2565 9930 2585
rect 9950 2565 9980 2585
rect 10000 2565 10030 2585
rect 10050 2565 10080 2585
rect 10100 2565 10130 2585
rect 10150 2565 10180 2585
rect 10200 2565 10230 2585
rect 10250 2565 10280 2585
rect 10300 2565 10330 2585
rect 10350 2565 10380 2585
rect 10400 2565 10430 2585
rect 10450 2565 10480 2585
rect 10500 2565 10530 2585
rect 10550 2565 10580 2585
rect 10600 2565 10630 2585
rect 10650 2565 10680 2585
rect 10700 2565 10730 2585
rect 10750 2565 10765 2585
rect 9150 2555 10765 2565
rect 10905 2260 10960 2270
rect 10905 2225 10915 2260
rect 10950 2225 10960 2260
rect 10905 2215 10960 2225
rect 10905 2055 10960 2065
rect 10905 2020 10915 2055
rect 10950 2020 10960 2055
rect 10905 2010 10960 2020
rect 9155 1725 10765 1735
rect 9155 1705 9185 1725
rect 9205 1705 9235 1725
rect 9255 1705 9285 1725
rect 9305 1705 9335 1725
rect 9355 1705 9385 1725
rect 9405 1705 9435 1725
rect 9455 1705 9485 1725
rect 9505 1705 9535 1725
rect 9555 1705 9585 1725
rect 9605 1705 9635 1725
rect 9655 1705 9685 1725
rect 9705 1705 9735 1725
rect 9755 1705 9785 1725
rect 9805 1705 9835 1725
rect 9855 1705 9885 1725
rect 9905 1705 9935 1725
rect 9955 1705 9985 1725
rect 10005 1705 10035 1725
rect 10055 1705 10085 1725
rect 10105 1705 10135 1725
rect 10155 1705 10185 1725
rect 10205 1705 10235 1725
rect 10255 1705 10285 1725
rect 10305 1705 10335 1725
rect 10355 1705 10385 1725
rect 10405 1705 10435 1725
rect 10455 1705 10485 1725
rect 10505 1705 10535 1725
rect 10555 1705 10585 1725
rect 10605 1705 10635 1725
rect 10655 1705 10685 1725
rect 10705 1705 10735 1725
rect 10755 1705 10765 1725
rect 9155 1695 10765 1705
rect 11080 1660 11135 1670
rect 11080 1625 11090 1660
rect 11125 1625 11135 1660
rect 11080 1615 11135 1625
<< via1 >>
rect 11035 2815 11070 2850
rect 10915 2225 10950 2260
rect 10915 2020 10950 2055
rect 11090 1625 11125 1660
<< metal2 >>
rect 11025 2850 11080 2860
rect 11025 2840 11035 2850
rect 9105 2825 11035 2840
rect 11025 2815 11035 2825
rect 11070 2815 11080 2850
rect 11025 2805 11080 2815
rect 10905 2260 10960 2270
rect 10905 2225 10915 2260
rect 10950 2225 10960 2260
rect 10905 2215 10960 2225
rect 10905 2055 10960 2065
rect 10905 2020 10915 2055
rect 10950 2020 10960 2055
rect 10905 2010 10960 2020
rect 11080 1660 11135 1670
rect 11080 1650 11090 1660
rect 9105 1635 11090 1650
rect 11080 1625 11090 1635
rect 11125 1625 11135 1660
rect 11080 1615 11135 1625
<< via2 >>
rect 11035 2815 11070 2850
rect 10915 2225 10950 2260
rect 10915 2020 10950 2055
rect 11090 1625 11125 1660
<< metal3 >>
rect 11025 2850 11630 2860
rect 11025 2815 11035 2850
rect 11070 2815 11630 2850
rect 11025 2805 11630 2815
rect 10905 2260 10960 2270
rect 10905 2225 10915 2260
rect 10950 2225 10960 2260
rect 10905 2215 10960 2225
rect 11080 2200 11630 2805
rect 10905 2055 10960 2065
rect 10905 2020 10915 2055
rect 10950 2020 10960 2055
rect 10905 2010 10960 2020
rect 11080 1670 11380 2080
rect 11080 1660 11135 1670
rect 11080 1625 11090 1660
rect 11125 1625 11135 1660
rect 11080 1615 11135 1625
<< via3 >>
rect 10915 2225 10950 2260
rect 10915 2020 10950 2055
<< mimcap >>
rect 11095 2260 11615 2845
rect 11095 2225 11105 2260
rect 11140 2225 11615 2260
rect 11095 2215 11615 2225
rect 11095 2055 11365 2065
rect 11095 2020 11105 2055
rect 11140 2020 11365 2055
rect 11095 1685 11365 2020
<< mimcapcontact >>
rect 11105 2225 11140 2260
rect 11105 2020 11140 2055
<< metal4 >>
rect 10905 2260 11150 2270
rect 10905 2225 10915 2260
rect 10950 2225 11105 2260
rect 11140 2225 11150 2260
rect 10905 2215 11150 2225
rect 10905 2055 11150 2065
rect 10905 2020 10915 2055
rect 10950 2020 11105 2055
rect 11140 2020 11150 2055
rect 10905 2010 11150 2020
<< labels >>
flabel metal1 9150 2575 9150 2575 7 FreeSans 400 0 -200 0 VDDA
port 1 w
flabel poly 10610 2270 10610 2270 3 FreeSans 400 0 200 0 UP_input
port 8 e
flabel poly 9510 2255 9510 2255 5 FreeSans 400 0 0 -200 opamp_out
port 10 s
flabel locali 9425 2105 9425 2105 7 FreeSans 400 0 -200 0 I_IN
port 7 w
flabel locali 10005 2140 10005 2140 3 FreeSans 400 0 200 0 x
port 3 e
flabel poly 10610 2010 10610 2010 3 FreeSans 400 0 200 0 DOWN_input
port 9 e
flabel metal1 9155 1715 9155 1715 7 FreeSans 400 0 -200 0 GNDA
port 2 w
flabel locali 10545 2095 10545 2095 3 FreeSans 400 0 160 0 vout
port 4 e
flabel metal2 9105 2830 9105 2830 7 FreeSans 400 0 -200 0 UP_b
port 5 w
flabel metal2 9105 1640 9105 1640 7 FreeSans 400 0 -200 0 DOWN
port 6 w
<< end >>
